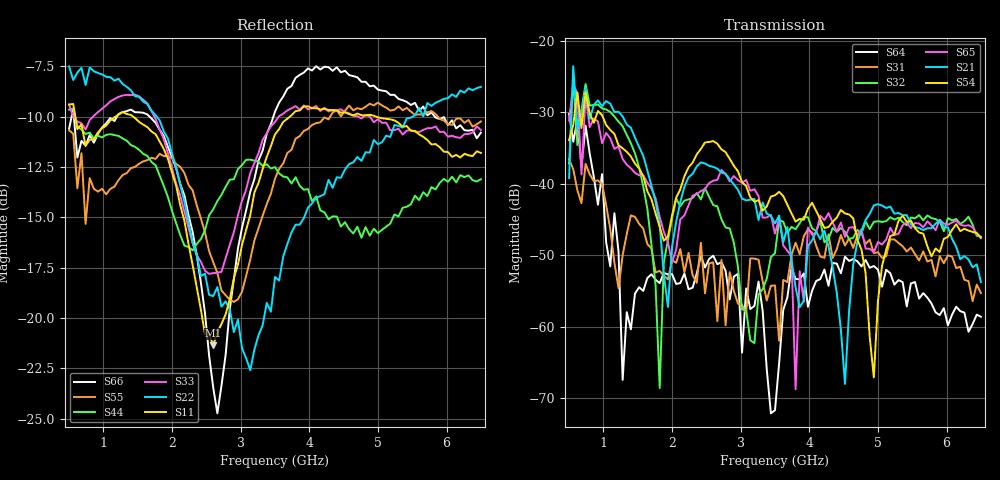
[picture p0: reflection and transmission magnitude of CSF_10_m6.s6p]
!Keysight Technologies,M9804A,MY58100912,A.14.10.03
!Date: Thursday, April 27, 2023 10:28:33
!Correction: S11(C  6-Port  )
!S12(C  6-Port  )
!S13(C  6-Port  )
!S14(C  6-Port  )
!S15(C  6-Port  )
!S16(C  6-Port  )
!S21(C  6-Port  )
!S22(C  6-Port  )
!S23(C  6-Port  )
!S24(C  6-Port  )
!S25(C  6-Port  )
!S26(C  6-Port  )
!S31(C  6-Port  )
!S32(C  6-Port  )
!S33(C  6-Port  )
!S34(C  6-Port  )
!S35(C  6-Port  )
!S36(C  6-Port  )
!S41(C  6-Port  )
!S42(C  6-Port  )
!S43(C  6-Port  )
!S44(C  6-Port  )
!S45(C  6-Port  )
!S46(C  6-Port  )
!S51(C  6-Port  )
!S52(C  6-Port  )
!S53(C  6-Port  )
!S54(C  6-Port  )
!S55(C  6-Port  )
!S56(C  6-Port  )
!S61(C  6-Port  )
!S62(C  6-Port  )
!S63(C  6-Port  )
!S64(C  6-Port  )
!S65(C  6-Port  )
!S66(C  6-Port  )
!S6P File: Measurement: :
# Hz S  RI  R 50
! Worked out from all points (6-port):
!   101 points, 500 MHz to 6.5 GHz, reference 50 ohm
!   strongest paths, dB at 500 MHz, 2 GHz, 3.5 GHz, 5 GHz, 6.5 GHz:
!     S54: -33.9, -44.4, -41.6, -56.4, -47.5
!     S21: -39.2, -48.8, -45.6, -42.8, -53.7
!     S65: -31.1, -51.0, -47.0, -48.1, -47.6
!     S32: -37.2, -44.9, -49.7, -45.2, -47.4
!     S31: -36.6, -50.7, -54.2, -49.6, -55.3
!     S64: -30.2, -52.6, -71.7, -52.0, -58.6
!   lowest |S11| = -21.3 dB at 2.6 GHz (marker M1), VSWR 1.19, Z = 42.4 + j2.21 ohm
!   |S11| at or under -10 dB: 590.2 MHz to 1.175 GHz (584.5 MHz wide, 66.2 % of centre); 1.435 GHz to 3.715 GHz (2.28 GHz wide, 88.6 % of centre); 4.977 GHz to end of sweep
